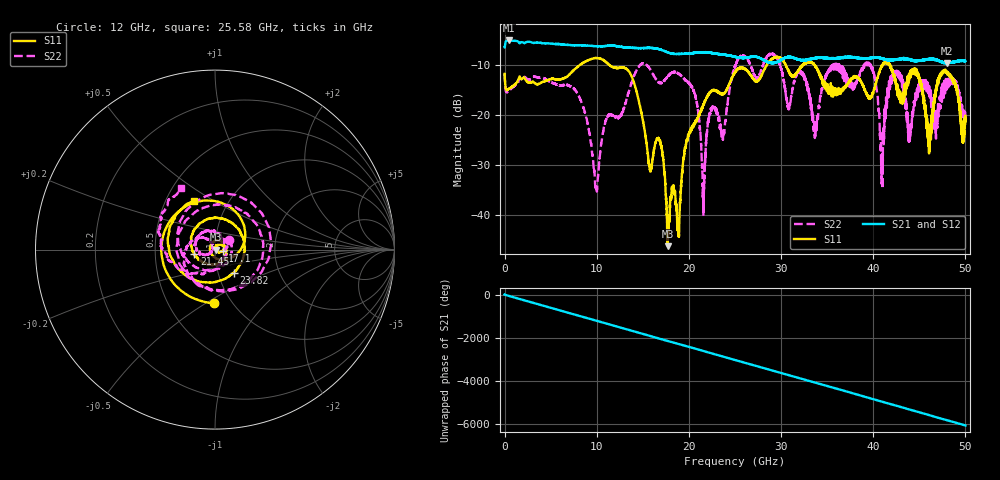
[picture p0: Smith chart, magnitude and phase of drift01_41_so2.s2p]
!Created with skrf (http://scikit-rf.org).
# Hz S RI R 50.0
!freq ReS11 ImS11 ReS21 ImS21 ReS12 ImS12 ReS22 ImS22
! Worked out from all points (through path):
!   10001 points, 300 kHz to 50 GHz, reference 50 ohm
!   highest |S21| = -5.05 dB at 490.3 MHz (marker M1); lowest = -9.6 dB at 48.03 GHz (marker M2)
!   group delay of S21, straight-line fit = 336 ps
!   lowest |S11| = -46.2 dB at 17.7 GHz (marker M3), VSWR 1.01, Z = 50.5 - j0.0869 ohm
!   |S11| at or under -10 dB: start of sweep to 8.151 GHz; 11.42 GHz to 28.44 GHz (17.02 GHz wide, 85.4 % of centre); 41.8 GHz to end of sweep (the widest 3 of 13)
!   |S22| runs from -40.2 to -7.7 dB; largest |S21 - S12| = 0.013
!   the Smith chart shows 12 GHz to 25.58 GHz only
!   S11 on the Smith chart (normalised r, x): 12 GHz: 0.83, -0.54; 17.1 GHz: 1.09, -0.01; 21.45 GHz: 0.79, -0.04; 23.82 GHz: 1.18, -0.32; 25.58 GHz: 0.69, +0.41
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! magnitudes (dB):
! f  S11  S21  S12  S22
! 300 kHz  -11.7  -6.4  -6.5  -11.7
! 490.3 MHz  -14.7  -5.1  -5.1  -15.1
! 8.335 GHz  -9.8  -6.0  -6.0  -17.5
! 9.935 GHz  -8.6  -6.2  -6.2  -34.5
! 12 GHz  -10.5  -6.1  -6.1  -20.3
! 15.78 GHz  -31.1  -6.5  -6.6  -10.8
! 16.67 GHz  -24.6  -6.8  -6.8  -13.4
! 17.1 GHz  -27.2  -7.0  -7.0  -13.4
! 17.7 GHz  -46.2  -7.4  -7.4  -12.3
! 20.5 GHz  -22.1  -7.6  -7.6  -15.1
! 21.45 GHz  -18.6  -7.4  -7.4  -30.9
! 22.46 GHz  -15.2  -7.5  -7.6  -18.7
! 23.82 GHz  -15.6  -7.9  -7.9  -23.6
! 25 GHz  -11.4  -8.3  -8.4  -10.3
! 25.58 GHz  -10.6  -8.6  -8.6  -8.1
! 33.34 GHz  -9.5  -8.7  -8.7  -19.3
! 39.49 GHz  -16.4  -8.6  -8.6  -9.9
! 40.95 GHz  -10.2  -8.7  -8.6  -28.3
! 41.67 GHz  -9.8  -8.9  -9.0  -15.4
! 46.08 GHz  -27.3  -8.7  -8.8  -15.3
! 48.03 GHz  -11.4  -9.6  -9.6  -13.1
! 50 GHz  -21.2  -9.2  -9.2  -20.1
